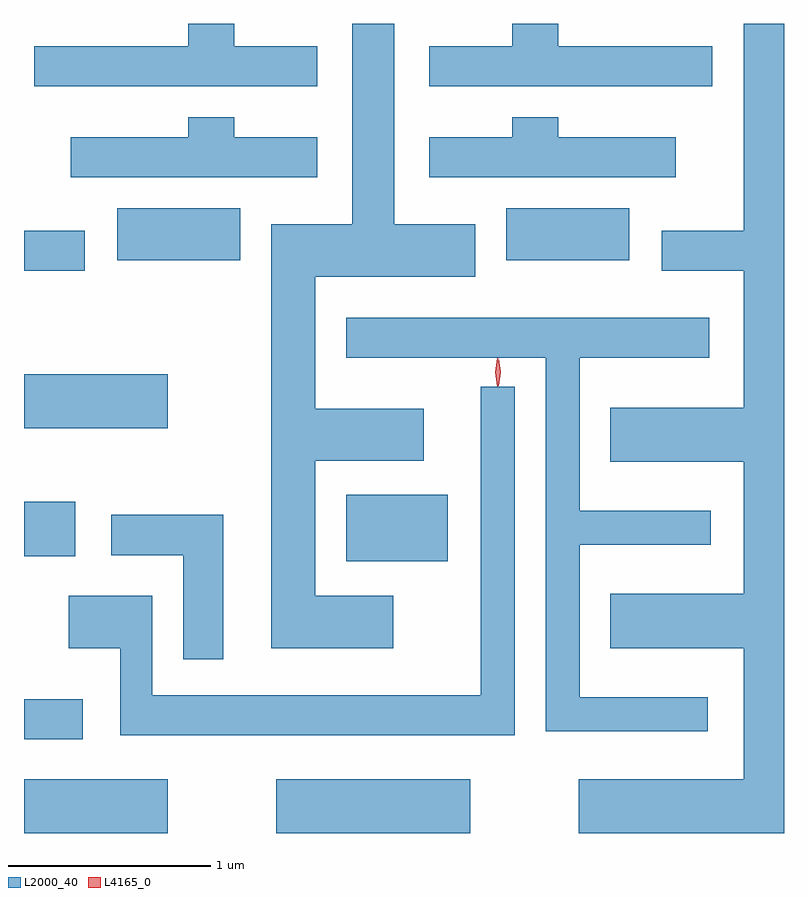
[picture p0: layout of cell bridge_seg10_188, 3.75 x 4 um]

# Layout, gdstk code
import gdstk
lib = gdstk.Library(unit=1e-6, precision=1e-09)
def R(c, l, rs):  # rectangles x0, y0, x1, y1
    for r in rs: c.add(gdstk.rectangle(r[:2], r[2:], *l))
def P(c, l, *ps):  # polygons
    for p in ps: c.add(gdstk.Polygon(p, *l))
L2000_40 = (2000, 40)
L4165_0 = (4165, 0)

bridge_seg10_188 = lib.new_cell('bridge_seg10_188')
R(bridge_seg10_188, L2000_40, [(1908.335,2139.966,1909.044,2140.234), (1909.581,2139.966,1910.539,2140.234), (1908.335,2140.431,1908.624,2140.629), (1909.926,2141.311,1910.429,2141.639), (1908.335,2141.336,1908.589,2141.604), (1908.335,2141.966,1909.044,2142.234), (1908.335,2142.746,1908.634,2142.944), (1908.796,2142.796,1909.404,2143.054), (1910.716,2142.796,1911.324,2143.054)])
P(bridge_seg10_188, L2000_40, [(1910.159,2141.139),(1909.774,2141.139),(1909.774,2141.806),(1910.309,2141.806),(1910.309,2142.064),(1909.774,2142.064),(1909.774,2142.716),(1910.564,2142.716),(1910.564,2142.974),(1910.164,2142.974),(1910.164,2143.966),(1909.956,2143.966),(1909.956,2142.974),(1909.556,2142.974),(1909.556,2140.881),(1910.159,2140.881)],
  [(1912.089,2143.966),(1911.891,2143.966),(1911.891,2142.944),(1911.486,2142.944),(1911.486,2142.746),(1911.891,2142.746),(1911.891,2142.069),(1911.231,2142.069),(1911.231,2141.801),(1911.891,2141.801),(1911.891,2141.149),(1911.231,2141.149),(1911.231,2140.881),(1911.891,2140.881),(1911.891,2140.234),(1911.076,2140.234),(1911.076,2139.966),(1912.089,2139.966)],
  [(1911.734,2143.854),(1910.974,2143.854),(1910.974,2143.966),(1910.746,2143.966),(1910.746,2143.854),(1910.336,2143.854),(1910.336,2143.656),(1911.734,2143.656)],
  [(1909.784,2143.854),(1909.374,2143.854),(1909.374,2143.966),(1909.146,2143.966),(1909.146,2143.854),(1908.386,2143.854),(1908.386,2143.656),(1909.784,2143.656)],
  [(1911.554,2143.404),(1910.974,2143.404),(1910.974,2143.504),(1910.746,2143.504),(1910.746,2143.404),(1910.336,2143.404),(1910.336,2143.206),(1911.554,2143.206)],
  [(1909.784,2143.404),(1909.374,2143.404),(1909.374,2143.504),(1909.146,2143.504),(1909.146,2143.404),(1908.566,2143.404),(1908.566,2143.206),(1909.784,2143.206)],
  [(1911.713,2140.639),(1911.079,2140.639),(1911.079,2141.391),(1911.728,2141.391),(1911.728,2141.559),(1911.079,2141.559),(1911.079,2142.316),(1911.719,2142.316),(1911.719,2142.514),(1909.926,2142.514),(1909.926,2142.316),(1910.911,2142.316),(1910.911,2140.471),(1911.713,2140.471)],
  [(1910.759,2142.173),(1910.591,2142.173),(1910.591,2140.649),(1908.969,2140.649),(1908.969,2141.139),(1908.556,2141.139),(1908.556,2140.881),(1908.811,2140.881),(1908.811,2140.451),(1910.759,2140.451)],
  [(1909.319,2141.539),(1908.766,2141.539),(1908.766,2141.341),(1909.121,2141.341),(1909.121,2140.826),(1909.319,2140.826)])
P(bridge_seg10_188, L4165_0, [(1910.678,2142.178),(1910.669,2142.244),(1910.679,2142.31),(1910.679,2142.311),(1910.68,2142.31),(1910.689,2142.244),(1910.679,2142.178),(1910.679,2142.178)],
  [(1910.673,2142.174),(1910.672,2142.175),(1910.663,2142.244),(1910.672,2142.313),(1910.673,2142.314),(1910.674,2142.313),(1910.683,2142.244),(1910.674,2142.175)])

lib.write_gds('bridge_seg10_188.gds')
